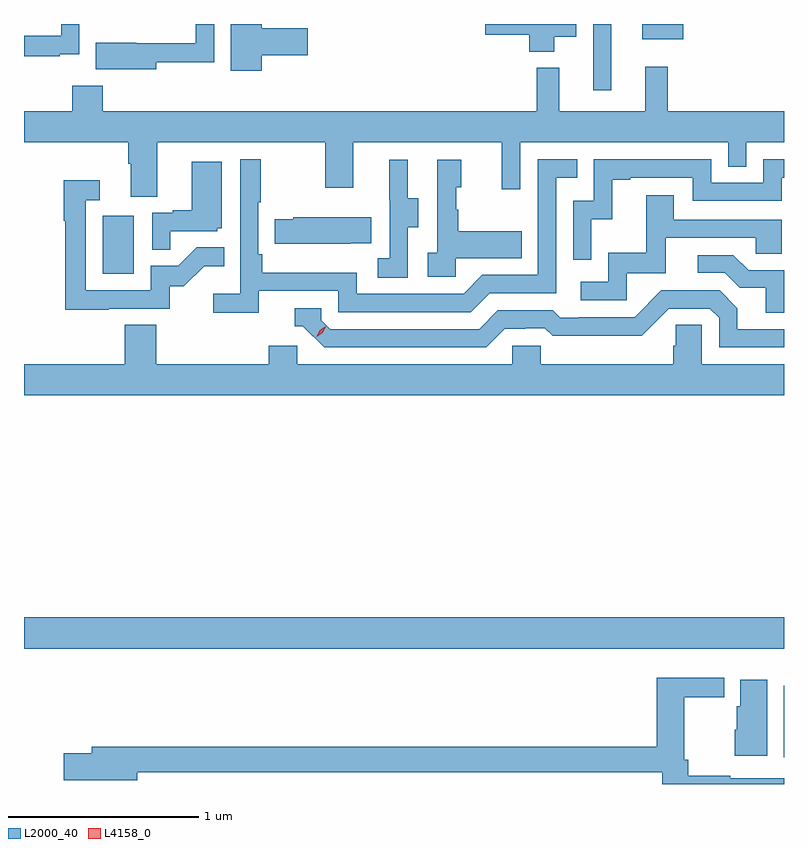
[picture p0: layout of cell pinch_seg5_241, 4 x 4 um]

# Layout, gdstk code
import gdstk
lib = gdstk.Library(unit=1e-6, precision=1e-09)
def R(c, l, rs):  # rectangles x0, y0, x1, y1
    for r in rs: c.add(gdstk.rectangle(r[:2], r[2:], *l))
def P(c, l, *ps):  # polygons
    for p in ps: c.add(gdstk.Polygon(p, *l))
L2000_40 = (2000, 40)
L4158_0 = (4158, 0)

pinch_seg5_241 = lib.new_cell('pinch_seg5_241')
R(pinch_seg5_241, L2000_40, [(943.907,898.812,943.908,899.188), (939.908,899.384,943.908,899.548), (940.322,901.356,940.486,901.663), (942.903,902.322,943,902.671), (943.163,902.591,943.378,902.671)])
P(pinch_seg5_241, L2000_40, [(942.7,902.603),(942.814,902.603),(942.814,902.671),(942.336,902.671),(942.336,902.614),(942.566,902.614),(942.566,902.525),(942.7,902.525)],
  [(941.158,902.506),(941.401,902.506),(941.401,902.648),(941.158,902.648),(941.158,902.671),(940.997,902.671),(940.997,902.424),(941.158,902.424)],
  [(940.097,902.513),(940.2,902.513),(940.2,902.671),(940.104,902.671),(940.104,902.61),(939.908,902.61),(939.908,902.502),(940.097,902.502)],
  [(940.603,902.47),(940.908,902.47),(940.908,902.671),(940.812,902.671),(940.812,902.571),(940.499,902.571),(940.499,902.572),(940.285,902.572),(940.285,902.432),(940.603,902.432)],
  [(940.609,902.048),(941.494,902.048),(941.494,901.809),(941.641,901.809),(941.641,902.048),(942.422,902.048),(942.422,901.8),(942.519,901.8),(942.519,902.048),(943.614,902.048),(943.614,901.921),(943.71,901.921),(943.71,902.048),(943.908,902.048),(943.908,902.212),(943.295,902.212),(943.295,902.446),(943.178,902.446),(943.178,902.212),(942.725,902.212),(942.725,902.44),(942.607,902.44),(942.607,902.212),(940.322,902.212),(940.322,902.347),(940.162,902.347),(940.162,902.212),(939.908,902.212),(939.908,902.048),(940.457,902.048),(940.457,901.936),(940.469,901.936),(940.469,901.762),(940.609,901.762)],
  [(941.144,901.266),(941.562,901.266),(941.562,901.155),(942.259,901.155),(942.358,901.254),(942.708,901.254),(942.708,901.863),(942.821,901.863),(942.821,901.959),(942.612,901.959),(942.612,901.35),(942.321,901.35),(942.222,901.251),(941.658,901.251),(941.658,901.363),(941.162,901.363),(941.162,901.459),(941.142,901.459),(941.142,901.732),(941.155,901.732),(941.155,901.96),(941.046,901.96),(941.046,901.252),(940.905,901.252),(940.905,901.15),(941.144,901.15)],
  [(942.894,901.643),(943.004,901.643),(943.004,901.851),(943.099,901.851),(943.099,901.863),(943.428,901.863),(943.428,901.74),(943.896,901.74),(943.896,901.863),(943.908,901.863),(943.908,901.959),(943.8,901.959),(943.8,901.836),(943.524,901.836),(943.524,901.959),(942.906,901.959),(942.906,901.74),(942.798,901.74),(942.798,901.431),(942.894,901.431)],
  [(941.928,901.6),(941.983,901.6),(941.983,901.755),(941.929,901.755),(941.929,901.957),(941.831,901.957),(941.831,901.743),(941.832,901.743),(941.832,901.439),(941.769,901.439),(941.769,901.336),(941.928,901.336)],
  [(942.18,901.439),(942.527,901.439),(942.527,901.579),(942.193,901.579),(942.193,901.694),(942.183,901.694),(942.183,901.812),(942.208,901.812),(942.208,901.957),(942.084,901.957),(942.084,901.466),(942.033,901.466),(942.033,901.341),(942.18,901.341)],
  [(940.679,901.581),(940.926,901.581),(940.926,901.596),(940.948,901.596),(940.948,901.945),(940.79,901.945),(940.79,901.69),(940.691,901.69),(940.691,901.677),(940.584,901.677),(940.584,901.483),(940.679,901.483)],
  [(940.355,901.173),(940.674,901.173),(940.674,901.29),(940.75,901.29),(940.857,901.397),(940.961,901.397),(940.961,901.496),(940.817,901.496),(940.719,901.398),(940.575,901.398),(940.575,901.269),(940.233,901.269),(940.233,901.743),(940.306,901.743),(940.306,901.849),(940.117,901.849),(940.117,901.636),(940.125,901.636),(940.125,901.168),(940.355,901.168)],
  [(943.08,901.359),(943.285,901.359),(943.285,901.545),(943.759,901.545),(943.759,901.461),(943.896,901.461),(943.896,901.641),(943.327,901.641),(943.327,901.771),(943.183,901.771),(943.183,901.468),(942.984,901.468),(942.984,901.314),(942.837,901.314),(942.837,901.218),(943.08,901.218)],
  [(941.627,901.517),(941.735,901.517),(941.735,901.654),(941.325,901.654),(941.325,901.644),(941.227,901.644),(941.227,901.514),(941.627,901.514)],
  [(943.908,901.374),(943.723,901.374),(943.642,901.455),(943.455,901.455),(943.455,901.362),(943.596,901.362),(943.676,901.282),(943.811,901.282),(943.811,901.15),(943.908,901.15)],
  [(942.439,901.068),(942.546,901.068),(942.546,901.071),(942.649,901.071),(942.691,901.029),(942.924,901.029),(942.924,901.031),(943.16,901.031),(943.302,901.173),(943.518,901.173),(943.566,901.125),(943.566,900.969),(943.908,900.969),(943.908,901.065),(943.663,901.065),(943.663,901.175),(943.569,901.269),(943.263,901.269),(943.122,901.128),(942.829,901.128),(942.829,901.125),(942.73,901.125),(942.691,901.164),(942.402,901.164),(942.303,901.065),(941.52,901.065),(941.472,901.113),(941.472,901.176),(941.333,901.176),(941.333,901.08),(941.376,901.08),(941.487,900.969),(942.34,900.969)],
  [(943.908,900.88),(943.476,900.88),(943.476,901.088),(943.339,901.088),(943.339,900.978),(943.325,900.978),(943.325,900.88),(942.627,900.88),(942.627,900.978),(942.477,900.978),(942.477,900.88),(941.346,900.88),(941.346,900.978),(941.195,900.978),(941.195,900.88),(940.604,900.88),(940.604,901.088),(940.439,901.088),(940.439,900.88),(939.908,900.88),(939.908,900.716),(943.908,900.716)],
  [(943.908,898.701),(943.625,898.701),(943.625,898.714),(943.403,898.714),(943.403,898.798),(943.384,898.798),(943.384,899.128),(943.594,899.128),(943.594,899.23),(943.238,899.23),(943.238,898.868),(940.265,898.868),(940.265,898.832),(940.116,898.832),(940.116,898.69),(940.504,898.69),(940.504,898.732),(943.267,898.732),(943.267,898.671),(943.908,898.671)],
  [(943.819,899.221),(943.679,899.221),(943.679,899.079),(943.658,899.079),(943.658,898.956),(943.649,898.956),(943.649,898.82),(943.819,898.82)])
P(pinch_seg5_241, L4158_0, [(941.449,901.026),(941.449,901.027),(941.465,901.06),(941.495,901.079),(941.496,901.079),(941.496,901.079),(941.48,901.046),(941.45,901.026)])

lib.write_gds('pinch_seg5_241.gds')
